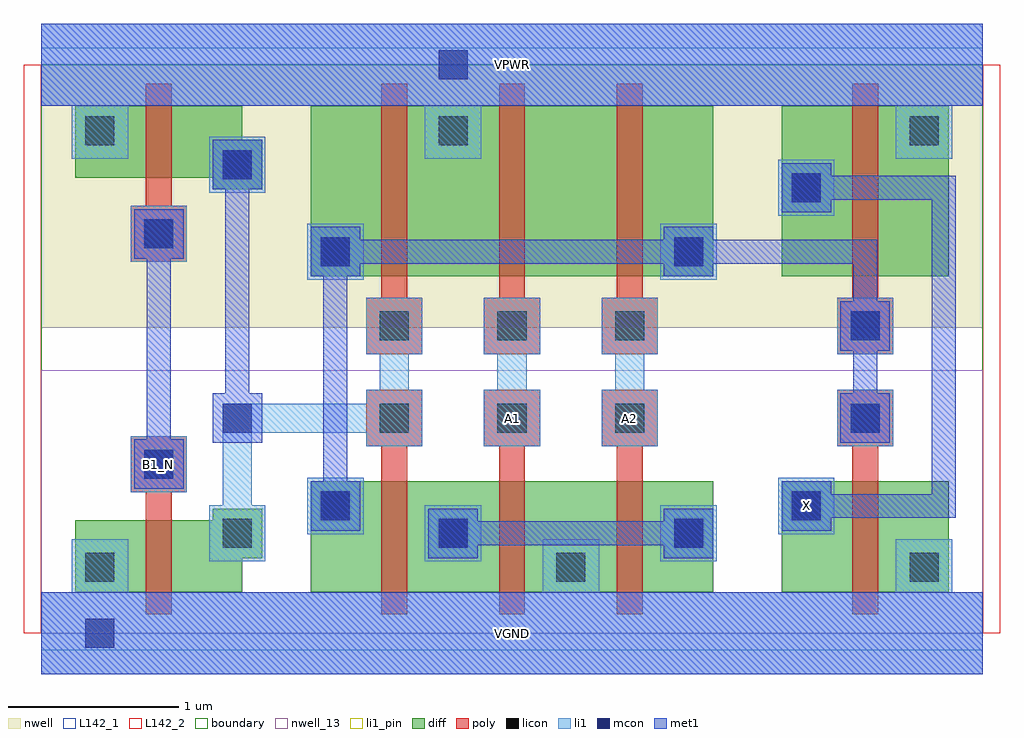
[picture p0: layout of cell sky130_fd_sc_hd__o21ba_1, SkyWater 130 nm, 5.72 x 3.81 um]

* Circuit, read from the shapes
.subckt sky130_fd_sc_hd__o21ba_1 A1 A2 B1_N VGND VPWR X
XM1 n1 B1_N VGND VSUBS sky130_fd_pr__nfet_01v8 w=0.42 l=0.15
XM2 n2 n1 n3 VSUBS sky130_fd_pr__nfet_01v8 w=0.65 l=0.15
XM3 VGND A1 n2 VSUBS sky130_fd_pr__nfet_01v8 w=0.65 l=0.15
XM4 n2 A2 VGND VSUBS sky130_fd_pr__nfet_01v8 w=0.65 l=0.15
XM5 VGND n3 X VSUBS sky130_fd_pr__nfet_01v8 w=0.65 l=0.15
XM6 n1 B1_N VPWR n4 sky130_fd_pr__pfet_01v8 w=0.42 l=0.15
XM7 VPWR n1 n3 n4 sky130_fd_pr__pfet_01v8 w=1 l=0.15
XM8 n5 A1 VPWR n4 sky130_fd_pr__pfet_01v8 w=1 l=0.15
XM9 n3 A2 n5 n4 sky130_fd_pr__pfet_01v8 w=1 l=0.15
XM10 VPWR n3 X n4 sky130_fd_pr__pfet_01v8 w=1 l=0.15
.ends

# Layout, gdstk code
import gdstk
lib = gdstk.Library(unit=1e-6, precision=1e-09)
def R(c, l, rs):  # rectangles x0, y0, x1, y1
    for r in rs: c.add(gdstk.rectangle(r[:2], r[2:], *l))
def A(c, l, x, y, w, h, nx, ny, dx, dy):  # array of equal rectangles
    R(c, l, [(x+i*dx, y+j*dy, x+i*dx+w, y+j*dy+h) for i in range(nx) for j in range(ny)])
def P(c, l, *ps):  # polygons
    for p in ps: c.add(gdstk.Polygon(p, *l))
nwell_13 = (64, 13)
nwell = (64, 20)
diff = (65, 20)
poly = (66, 20)
licon = (66, 44)
li1_pin = (67, 16)
li1 = (67, 20)
mcon = (67, 44)
met1 = (68, 20)
L142_1 = (142, 1)
L142_2 = (142, 2)
boundary = (235, 4)

sky130_fd_sc_hd__o21ba_1 = lib.new_cell('sky130_fd_sc_hd__o21ba_1')
R(sky130_fd_sc_hd__o21ba_1, nwell_13, [(0,0,5.52,1.54)])
R(sky130_fd_sc_hd__o21ba_1, nwell, [(0,1.79,5.52,3.33)])
R(sky130_fd_sc_hd__o21ba_1, diff, [(0.2,0.24,1.18,0.66), (0.2,0.24,0.615,0.66), (1.58,0.24,3.94,0.89), (1.58,0.24,1.995,0.89), (1.995,0.24,2.685,0.89), (2.685,0.24,3.375,0.89), (3.375,0.24,3.94,0.89), (4.34,0.24,5.32,0.89), (4.34,0.24,4.755,0.89), (4.755,0.24,5.32,0.89), (1.58,2.09,3.94,3.09), (1.58,2.09,1.995,3.09), (1.995,2.09,2.685,3.09), (2.685,2.09,3.375,3.09), (3.375,2.09,3.94,3.09), (4.34,2.09,5.32,3.09), (4.34,2.09,4.755,3.09), (4.755,2.09,5.32,3.09), (0.2,2.67,1.18,3.09), (0.2,2.67,0.615,3.09)])
P(sky130_fd_sc_hd__o21ba_1, diff, [(0.615,0.24),(0.615,0.66),(1.005,0.66),(1.005,0.73),(1.295,0.73),(1.295,0.44),(1.18,0.44),(1.18,0.24)],
  [(1.005,2.6),(1.005,2.67),(0.615,2.67),(0.615,3.09),(1.18,3.09),(1.18,2.89),(1.295,2.89),(1.295,2.6)])
P(sky130_fd_sc_hd__o21ba_1, poly, [(4.755,0.11),(4.755,1.095),(4.665,1.095),(4.665,1.425),(4.995,1.425),(4.995,1.095),(4.905,1.095),(4.905,0.11)],
  [(4.665,1.635),(4.665,1.965),(4.755,1.965),(4.755,3.22),(4.905,3.22),(4.905,1.965),(4.995,1.965),(4.995,1.635)],
  [(0.615,0.11),(0.615,0.825),(0.525,0.825),(0.525,1.155),(0.855,1.155),(0.855,0.825),(0.765,0.825),(0.765,0.11)],
  [(0.525,2.175),(0.525,2.505),(0.615,2.505),(0.615,3.22),(0.765,3.22),(0.765,2.505),(0.855,2.505),(0.855,2.175)],
  [(3.375,0.11),(3.375,1.095),(3.285,1.095),(3.285,1.425),(3.615,1.425),(3.615,1.095),(3.525,1.095),(3.525,0.11)],
  [(3.285,1.635),(3.285,1.965),(3.375,1.965),(3.375,3.22),(3.525,3.22),(3.525,1.965),(3.615,1.965),(3.615,1.635)],
  [(2.685,0.11),(2.685,1.095),(2.595,1.095),(2.595,1.425),(2.925,1.425),(2.925,1.095),(2.835,1.095),(2.835,0.11)],
  [(2.595,1.635),(2.595,1.965),(2.685,1.965),(2.685,3.22),(2.835,3.22),(2.835,1.965),(2.925,1.965),(2.925,1.635)],
  [(1.995,0.11),(1.995,1.095),(1.905,1.095),(1.905,1.425),(2.235,1.425),(2.235,1.095),(2.145,1.095),(2.145,0.11)],
  [(1.905,1.635),(1.905,1.965),(1.995,1.965),(1.995,3.22),(2.145,3.22),(2.145,1.965),(2.235,1.965),(2.235,1.635)])
A(sky130_fd_sc_hd__o21ba_1, licon, 1.985, 1.175, 0.17, 0.17, 3, 2, 0.69, 0.54)
R(sky130_fd_sc_hd__o21ba_1, licon, [(0.26,0.3,0.43,0.47), (3.02,0.3,3.19,0.47), (5.09,0.3,5.26,0.47), (1.065,0.5,1.235,0.67), (2.33,0.5,2.5,0.67), (3.71,0.5,3.88,0.67), (1.64,0.66,1.81,0.83), (4.4,0.66,4.57,0.83), (0.605,0.905,0.775,1.075), (4.745,1.175,4.915,1.345), (4.745,1.715,4.915,1.885), (1.64,2.15,1.81,2.32), (3.71,2.15,3.88,2.32), (0.605,2.255,0.775,2.425), (4.4,2.525,4.57,2.695), (1.065,2.66,1.235,2.83), (0.26,2.86,0.43,3.03), (2.33,2.86,2.5,3.03), (5.09,2.86,5.26,3.03)])
R(sky130_fd_sc_hd__o21ba_1, li1_pin, [(0,-0.24,5.52,0.24), (4.32,0.58,4.65,0.91), (0.525,0.825,0.855,1.155), (0,3.09,5.52,3.57)])
P(sky130_fd_sc_hd__o21ba_1, li1_pin, [(2.595,1.095),(2.595,1.425),(2.675,1.425),(2.675,1.635),(2.595,1.635),(2.595,1.965),(2.925,1.965),(2.925,1.635),(2.845,1.635),(2.845,1.425),(2.925,1.425),(2.925,1.095)],
  [(3.285,1.095),(3.285,1.425),(3.365,1.425),(3.365,1.635),(3.285,1.635),(3.285,1.965),(3.615,1.965),(3.615,1.635),(3.535,1.635),(3.535,1.425),(3.615,1.425),(3.615,1.095)])
R(sky130_fd_sc_hd__o21ba_1, li1, [(2.25,0.42,2.58,0.75), (3.63,0.42,3.96,0.75), (1.56,0.58,1.89,0.91), (4.32,0.58,4.65,0.91), (0.525,0.825,0.855,1.155), (4.665,1.095,4.995,1.425), (4.665,1.635,4.995,1.965), (1.56,2.07,1.89,2.4), (3.63,2.07,3.96,2.4), (0.525,2.175,0.855,2.505), (4.32,2.445,4.65,2.775), (0.985,2.58,1.315,2.91)])
P(sky130_fd_sc_hd__o21ba_1, li1, [(3.285,1.095),(3.285,1.425),(3.365,1.425),(3.365,1.635),(3.285,1.635),(3.285,1.965),(3.615,1.965),(3.615,1.635),(3.535,1.635),(3.535,1.425),(3.615,1.425),(3.615,1.095)],
  [(0.18,2.78),(0.18,3.09),(0,3.09),(0,3.57),(5.52,3.57),(5.52,3.09),(5.34,3.09),(5.34,2.78),(5.01,2.78),(5.01,3.09),(2.58,3.09),(2.58,2.78),(2.25,2.78),(2.25,3.09),(0.51,3.09),(0.51,2.78)],
  [(2.595,1.095),(2.595,1.425),(2.675,1.425),(2.675,1.635),(2.595,1.635),(2.595,1.965),(2.925,1.965),(2.925,1.635),(2.845,1.635),(2.845,1.425),(2.925,1.425),(2.925,1.095)],
  [(0,-0.24),(0,0.24),(0.18,0.24),(0.18,0.55),(0.51,0.55),(0.51,0.24),(2.94,0.24),(2.94,0.55),(3.27,0.55),(3.27,0.24),(5.01,0.24),(5.01,0.55),(5.34,0.55),(5.34,0.24),(5.52,0.24),(5.52,-0.24)],
  [(0.985,0.42),(0.985,0.75),(1.065,0.75),(1.065,1.345),(1.905,1.345),(1.905,1.425),(1.985,1.425),(1.985,1.635),(1.905,1.635),(1.905,1.965),(2.235,1.965),(2.235,1.635),(2.155,1.635),(2.155,1.425),(2.235,1.425),(2.235,1.095),(1.905,1.095),(1.905,1.175),(1.235,1.175),(1.235,0.75),(1.315,0.75),(1.315,0.42)])
R(sky130_fd_sc_hd__o21ba_1, mcon, [(0.26,-0.085,0.43,0.085), (2.33,0.5,2.5,0.67), (3.71,0.5,3.88,0.67), (1.64,0.66,1.81,0.83), (4.4,0.66,4.57,0.83), (0.605,0.905,0.775,1.075), (1.065,1.175,1.235,1.345), (4.745,1.175,4.915,1.345), (4.745,1.715,4.915,1.885), (1.64,2.15,1.81,2.32), (3.71,2.15,3.88,2.32), (0.605,2.255,0.775,2.425), (4.4,2.525,4.57,2.695), (1.065,2.66,1.235,2.83), (2.33,3.245,2.5,3.415)])
R(sky130_fd_sc_hd__o21ba_1, met1, [(0,-0.24,5.52,0.24), (0,3.09,5.52,3.57)])
P(sky130_fd_sc_hd__o21ba_1, met1, [(1.58,0.6),(1.58,0.89),(1.655,0.89),(1.655,2.09),(1.58,2.09),(1.58,2.38),(1.87,2.38),(1.87,2.305),(3.65,2.305),(3.65,2.38),(3.94,2.38),(3.94,2.305),(4.9,2.305),(4.9,1.945),(4.975,1.945),(4.975,1.655),(4.9,1.655),(4.9,1.405),(4.975,1.405),(4.975,1.115),(4.685,1.115),(4.685,1.405),(4.76,1.405),(4.76,1.655),(4.685,1.655),(4.685,1.945),(4.76,1.945),(4.76,2.165),(3.94,2.165),(3.94,2.09),(3.65,2.09),(3.65,2.165),(1.87,2.165),(1.87,2.09),(1.795,2.09),(1.795,0.89),(1.87,0.89),(1.87,0.6)],
  [(0.545,0.845),(0.545,1.135),(0.62,1.135),(0.62,2.195),(0.545,2.195),(0.545,2.485),(0.835,2.485),(0.835,2.195),(0.76,2.195),(0.76,1.135),(0.835,1.135),(0.835,0.845)],
  [(2.27,0.44),(2.27,0.73),(2.56,0.73),(2.56,0.655),(3.65,0.655),(3.65,0.73),(3.94,0.73),(3.94,0.44),(3.65,0.44),(3.65,0.515),(2.56,0.515),(2.56,0.44)],
  [(1.005,1.115),(1.005,1.405),(1.08,1.405),(1.08,2.6),(1.005,2.6),(1.005,2.89),(1.295,2.89),(1.295,2.6),(1.22,2.6),(1.22,1.405),(1.295,1.405),(1.295,1.115)],
  [(4.34,0.6),(4.34,0.89),(4.63,0.89),(4.63,0.815),(5.22,0.815),(5.22,2.54),(4.63,2.54),(4.63,2.465),(4.34,2.465),(4.34,2.755),(4.63,2.755),(4.63,2.68),(5.36,2.68),(5.36,0.675),(4.63,0.675),(4.63,0.6)])
R(sky130_fd_sc_hd__o21ba_1, L142_1, [(0,-0.1,5.52,0), (0,3.33,5.52,3.43)])
R(sky130_fd_sc_hd__o21ba_1, L142_2, [(-0.1,0,0,3.33), (5.52,0,5.62,3.33)])
R(sky130_fd_sc_hd__o21ba_1, boundary, [(0,0,5.52,3.33)])
sky130_fd_sc_hd__o21ba_1.add(gdstk.Label('X', (4.485,0.745), layer=67, texttype=5))
sky130_fd_sc_hd__o21ba_1.add(gdstk.Label('B1_N', (0.69,0.99), layer=67, texttype=5))
sky130_fd_sc_hd__o21ba_1.add(gdstk.Label('A1', (2.76,1.26), layer=67, texttype=5))
sky130_fd_sc_hd__o21ba_1.add(gdstk.Label('A2', (3.45,1.26), layer=67, texttype=5))
sky130_fd_sc_hd__o21ba_1.add(gdstk.Label('VGND', (2.76,0), layer=67, texttype=5))
sky130_fd_sc_hd__o21ba_1.add(gdstk.Label('VPWR', (2.76,3.33), layer=67, texttype=5))
sky130_fd_sc_hd__o21ba_1.add(gdstk.Label('VGND', (2.76,0), layer=68, texttype=5))
sky130_fd_sc_hd__o21ba_1.add(gdstk.Label('VPWR', (2.76,3.33), layer=68, texttype=5))

lib.write_gds('sky130_fd_sc_hd__o21ba_1.gds')
